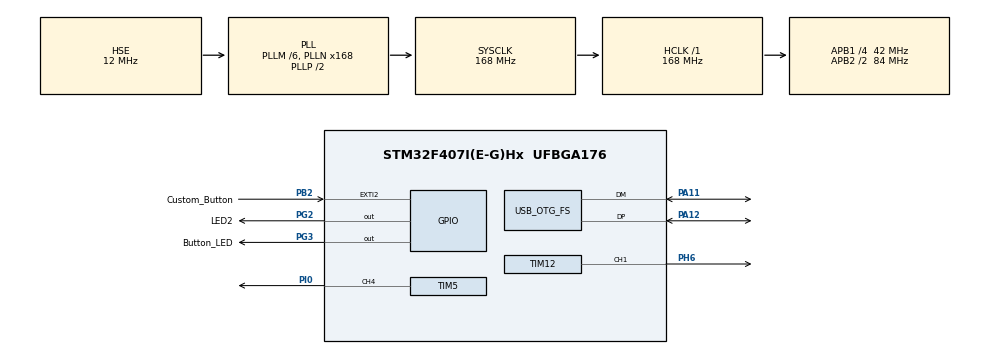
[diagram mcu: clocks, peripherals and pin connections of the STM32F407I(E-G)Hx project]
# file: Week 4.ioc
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FREERTOS.Tasks01=LEDtask,24,128,LEDtask_entry,As weak,NULL,Dynamic,NULL,NULL;USBtask,8,128,USBtask_entry,As weak,NULL,Dynamic,NULL,NULL;Buzzertask,8,128,Buzzertask_entry,As weak,NULL,Dynamic,NULL,NULL;Servotask,8,128,Servotask_entry,As weak,NULL,Dynamic,NULL,NULL;Buttontask,8,128,Buttontask_entry,As weak,NULL,Dynamic,NULL,NULL
Mcu.Family=STM32F4
Mcu.Name=STM32F407I(E-G)Hx
Mcu.Package=UFBGA176
NVIC.OTG_FS_IRQn=true\:5\:0\:false\:false\:true\:true\:false\:true
NVIC.PriorityGroup=NVIC_PRIORITYGROUP_4
PA11.Mode=Device_Only
PA11.Signal=USB_OTG_FS_DM
PA12.Mode=Device_Only
PA12.Signal=USB_OTG_FS_DP
PA13.Mode=Serial_Wire
PA13.Signal=SYS_JTMS-SWDIO
PA14.Mode=Serial_Wire
PA14.Signal=SYS_JTCK-SWCLK
PB2.GPIO_Label=Custom_Button
PB2.GPIO_ModeDefaultEXTI=GPIO_MODE_IT_RISING_FALLING
PB2.GPIO_PuPd=GPIO_PULLUP
PB2.Signal=GPXTI2
PG2.GPIO_Label=LED2
PG2.Signal=GPIO_Output
PG3.GPIO_Label=Button_LED
PG3.Signal=GPIO_Output
PH0-OSC_IN.Mode=HSE-External-Oscillator
PH0-OSC_IN.Signal=RCC_OSC_IN
PH1-OSC_OUT.Mode=HSE-External-Oscillator
PH1-OSC_OUT.Signal=RCC_OSC_OUT
PH11.Signal=S_TIM5_CH2
PH12.Signal=S_TIM5_CH3
PH6.Signal=S_TIM12_CH1
PI0.Signal=S_TIM5_CH4
ProjectManager.HeapSize=0x1000
ProjectManager.StackSize=0x400
ProjectManager.TargetToolchain=MDK-ARM V5.27
RCC.48MHZClocksFreq_Value=48000000
RCC.AHBFreq_Value=168000000
RCC.APB1CLKDivider=RCC_HCLK_DIV4
RCC.APB1Freq_Value=42000000
RCC.APB1TimFreq_Value=84000000
RCC.APB2CLKDivider=RCC_HCLK_DIV2
RCC.APB2Freq_Value=84000000
RCC.APB2TimFreq_Value=168000000
RCC.CortexFreq_Value=168000000
RCC.HCLKFreq_Value=168000000
RCC.HSE_VALUE=12000000
RCC.HSI_VALUE=16000000
RCC.LSE_VALUE=32768
RCC.PLLM=6
RCC.PLLN=168
RCC.PLLQ=7
RCC.SYSCLKFreq_VALUE=168000000
RCC.SYSCLKSource=RCC_SYSCLKSOURCE_PLLCLK
RCC.VCOOutputFreq_Value=336000000
SH.S_TIM12_CH1.0=TIM12_CH1,PWM Generation1 CH1
SH.S_TIM5_CH2.0=TIM5_CH2
SH.S_TIM5_CH3.0=TIM5_CH3
SH.S_TIM5_CH4.0=TIM5_CH4,PWM Generation4 CH4
TIM12.Channel-PWM\ Generation1\ CH1=TIM_CHANNEL_1
TIM12.Period=9999
TIM5.Channel-PWM\ Generation4\ CH4=TIM_CHANNEL_4
TIM5.Period=19999
TIM5.Prescaler=83
TIM5.Pulse-PWM\ Generation4\ CH4=2000
USB_DEVICE.CLASS_NAME_FS=CDC
USB_DEVICE.PID_CDC_FS=22337
USB_DEVICE.VirtualMode-CDC_FS=Cdc
USB_DEVICE.VirtualModeFS=Cdc_FS
USB_OTG_FS.VirtualMode=Device_Only
VP_FREERTOS_VS_CMSIS_V2.Mode=CMSIS_V2
VP_TIM12_VS_ClockSourceINT.Mode=Internal
VP_TIM5_VS_ClockSourceINT.Mode=Internal
VP_USB_DEVICE_VS_USB_DEVICE_CDC_FS.Mode=CDC_FS
board=custom

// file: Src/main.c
/* USER CODE BEGIN Header */
/**
  ******************************************************************************
  * @file           : main.c
  * @brief          : Main program body
  ******************************************************************************
  * @attention
  *
  * <h2><center>&copy; Copyright (c) 2020 STMicroelectronics.
  * All rights reserved.</center></h2>
  *
  * This software component is licensed by ST under Ultimate Liberty license
  * SLA0044, the "License"; You may not use this file except in compliance with
  * the License. You may obtain a copy of the License at:
  *                             www.st.com/SLA0044
  *
  ******************************************************************************
  */
/* USER CODE END Header */

#include "main.h"
#include "cmsis_os.h"
#include "tim.h"
#include "usb_device.h"
#include "gpio.h"

/* USER CODE BEGIN Includes */
extern uint8_t CDC_Transmit_FS(uint8_t* Buf, uint16_t Len);
/* USER CODE END Includes */

void SystemClock_Config(void);
void MX_FREERTOS_Init(void);

/* USER CODE BEGIN 0 */
void LEDtask_entry(void *argument){

	while(1){
		HAL_GPIO_TogglePin(LED2_GPIO_Port, LED2_Pin);
		osDelay(500);
	}

}

void USBtask_entry(void *argument){
	uint8_t buffer[] = "Hello Wilson\n\r";
	//MX_USB_DEVICE_Init();
	while(1){
		CDC_Transmit_FS(buffer, sizeof(buffer));
		osDelay(5000);
	}
}

void buzzer_on(uint16_t psc, uint16_t pwm){
	__HAL_TIM_PRESCALER(&htim12, psc);
  __HAL_TIM_SetCompare(&htim12, TIM_CHANNEL_1, pwm);
}

void buzzer_off(void)
{
  __HAL_TIM_SetCompare(&htim12, TIM_CHANNEL_1, 0);
}

void Buzzertask_entry(void *argument){
	buzzer_on(24, 5000);
	HAL_Delay(250);
	while(1){
		buzzer_off();
		osDelay(1);
	}
}

void Servotask_entry(void *argument){

	while(1){
	__HAL_TIM_SetCompare(&htim5, TIM_CHANNEL_2, 1200);
	__HAL_TIM_SetCompare(&htim5, TIM_CHANNEL_3, 1200);
	__HAL_TIM_SetCompare(&htim5, TIM_CHANNEL_4, 1200);
	osDelay(5000);

	__HAL_TIM_SetCompare(&htim5, TIM_CHANNEL_2, 1600);
	__HAL_TIM_SetCompare(&htim5, TIM_CHANNEL_3, 1600);
	__HAL_TIM_SetCompare(&htim5, TIM_CHANNEL_4, 1600);
		osDelay(5000);
	}
}

void Buttontask_entry(void *argument){
	while(1){
		if (HAL_GPIO_ReadPin(GPIOB, Custom_Button_Pin) == GPIO_PIN_SET){
			HAL_GPIO_WritePin(Button_LED_GPIO_Port, Button_LED_Pin, GPIO_PIN_RESET);
		}
		else{
			HAL_GPIO_WritePin(Button_LED_GPIO_Port, Button_LED_Pin, GPIO_PIN_SET);
		}
	}
}

/* USER CODE END 0 */

int main(void)
{

  /* MCU Configuration--------------------------------------------------------*/

  /* Reset of all peripherals, Initializes the Flash interface and the Systick. */
  HAL_Init();

  /* Configure the system clock */
  SystemClock_Config();

  /* Initialize all configured peripherals */
  MX_GPIO_Init();
  MX_TIM12_Init();
  MX_TIM5_Init();
  /* USER CODE BEGIN 2 */
	MX_USB_DEVICE_Init();

	HAL_TIM_Base_Start_IT(&htim12);
	HAL_TIM_PWM_Start(&htim12, TIM_CHANNEL_1);

	HAL_TIM_Base_Start_IT(&htim5);
	HAL_TIM_PWM_Start(&htim5, TIM_CHANNEL_2);
	HAL_TIM_PWM_Start(&htim5, TIM_CHANNEL_3);
	HAL_TIM_PWM_Start(&htim5, TIM_CHANNEL_4);

  /* USER CODE END 2 */
  /* Init scheduler */
  osKernelInitialize();

  /* Call init function for freertos objects (in freertos.c) */
  MX_FREERTOS_Init();

  /* Start scheduler */
  osKernelStart();

  /* We should never get here as control is now taken by the scheduler */

  /* Infinite loop */
  while (1)
  {

  }
}

void SystemClock_Config(void)
{
  RCC_OscInitTypeDef RCC_OscInitStruct = {0};
  RCC_ClkInitTypeDef RCC_ClkInitStruct = {0};

  /** Configure the main internal regulator output voltage
  */
  __HAL_RCC_PWR_CLK_ENABLE();
  __HAL_PWR_VOLTAGESCALING_CONFIG(PWR_REGULATOR_VOLTAGE_SCALE1);
  /** Initializes the CPU, AHB and APB busses clocks
  */
  RCC_OscInitStruct.OscillatorType = RCC_OSCILLATORTYPE_HSE;
  RCC_OscInitStruct.HSEState = RCC_HSE_ON;
  RCC_OscInitStruct.PLL.PLLState = RCC_PLL_ON;
  RCC_OscInitStruct.PLL.PLLSource = RCC_PLLSOURCE_HSE;
  RCC_OscInitStruct.PLL.PLLM = 6;
  RCC_OscInitStruct.PLL.PLLN = 168;
  RCC_OscInitStruct.PLL.PLLP = RCC_PLLP_DIV2;
  RCC_OscInitStruct.PLL.PLLQ = 7;
  if (HAL_RCC_OscConfig(&RCC_OscInitStruct) != HAL_OK)
  {
    Error_Handler();
  }
  /** Initializes the CPU, AHB and APB busses clocks
  */
  RCC_ClkInitStruct.ClockType = RCC_CLOCKTYPE_HCLK|RCC_CLOCKTYPE_SYSCLK
                              |RCC_CLOCKTYPE_PCLK1|RCC_CLOCKTYPE_PCLK2;
  RCC_ClkInitStruct.SYSCLKSource = RCC_SYSCLKSOURCE_PLLCLK;
  RCC_ClkInitStruct.AHBCLKDivider = RCC_SYSCLK_DIV1;
  RCC_ClkInitStruct.APB1CLKDivider = RCC_HCLK_DIV4;
  RCC_ClkInitStruct.APB2CLKDivider = RCC_HCLK_DIV2;

  if (HAL_RCC_ClockConfig(&RCC_ClkInitStruct, FLASH_LATENCY_5) != HAL_OK)
  {
    Error_Handler();
  }
}

void Error_Handler(void)
{
}

/************************ (C) COPYRIGHT STMicroelectronics *****END OF FILE****/

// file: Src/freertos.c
/* USER CODE BEGIN Header */
/**
  ******************************************************************************
  * File Name          : freertos.c
  * Description        : Code for freertos applications
  ******************************************************************************
  * @attention
  *
  * <h2><center>&copy; Copyright (c) 2020 STMicroelectronics.
  * All rights reserved.</center></h2>
  *
  * This software component is licensed by ST under Ultimate Liberty license
  * SLA0044, the "License"; You may not use this file except in compliance with
  * the License. You may obtain a copy of the License at:
  *                             www.st.com/SLA0044
  *
  ******************************************************************************
  */
/* USER CODE END Header */

#include "FreeRTOS.h"
#include "task.h"
#include "main.h"
#include "cmsis_os.h"

/* Definitions for LEDtask */
osThreadId_t LEDtaskHandle;
const osThreadAttr_t LEDtask_attributes = {
  .name = "LEDtask",
  .priority = (osPriority_t) osPriorityNormal,
  .stack_size = 128
};
/* Definitions for USBtask */
osThreadId_t USBtaskHandle;
const osThreadAttr_t USBtask_attributes = {
  .name = "USBtask",
  .priority = (osPriority_t) osPriorityLow,
  .stack_size = 128
};
/* Definitions for Buzzertask */
osThreadId_t BuzzertaskHandle;
const osThreadAttr_t Buzzertask_attributes = {
  .name = "Buzzertask",
  .priority = (osPriority_t) osPriorityLow,
  .stack_size = 128
};
/* Definitions for Servotask */
osThreadId_t ServotaskHandle;
const osThreadAttr_t Servotask_attributes = {
  .name = "Servotask",
  .priority = (osPriority_t) osPriorityLow,
  .stack_size = 128
};
/* Definitions for Buttontask */
osThreadId_t ButtontaskHandle;
const osThreadAttr_t Buttontask_attributes = {
  .name = "Buttontask",
  .priority = (osPriority_t) osPriorityLow,
  .stack_size = 128
};

void LEDtask_entry(void *argument);
void USBtask_entry(void *argument);
void Buzzertask_entry(void *argument);
void Servotask_entry(void *argument);
void Buttontask_entry(void *argument);

extern void MX_USB_DEVICE_Init(void);
void MX_FREERTOS_Init(void); /* (MISRA C 2004 rule 8.1) */

void MX_FREERTOS_Init(void) {

  /* Create the thread(s) */
  /* creation of LEDtask */
  LEDtaskHandle = osThreadNew(LEDtask_entry, NULL, &LEDtask_attributes);

  /* creation of USBtask */
  USBtaskHandle = osThreadNew(USBtask_entry, NULL, &USBtask_attributes);

  /* creation of Buzzertask */
  BuzzertaskHandle = osThreadNew(Buzzertask_entry, NULL, &Buzzertask_attributes);

  /* creation of Servotask */
  ServotaskHandle = osThreadNew(Servotask_entry, NULL, &Servotask_attributes);

  /* creation of Buttontask */
  ButtontaskHandle = osThreadNew(Buttontask_entry, NULL, &Buttontask_attributes);

}

__weak void LEDtask_entry(void *argument)
{
  /* init code for USB_DEVICE */
  MX_USB_DEVICE_Init();
  for(;;)
  {
    osDelay(1);
  }
}

__weak void USBtask_entry(void *argument)
{
  for(;;)
  {
    osDelay(1);
  }
}

__weak void Buzzertask_entry(void *argument)
{
  for(;;)
  {
    osDelay(1);
  }
}

__weak void Servotask_entry(void *argument)
{
  for(;;)
  {
    osDelay(1);
  }
}

__weak void Buttontask_entry(void *argument)
{
  for(;;)
  {
    osDelay(1);
  }
}

/************************ (C) COPYRIGHT STMicroelectronics *****END OF FILE****/
